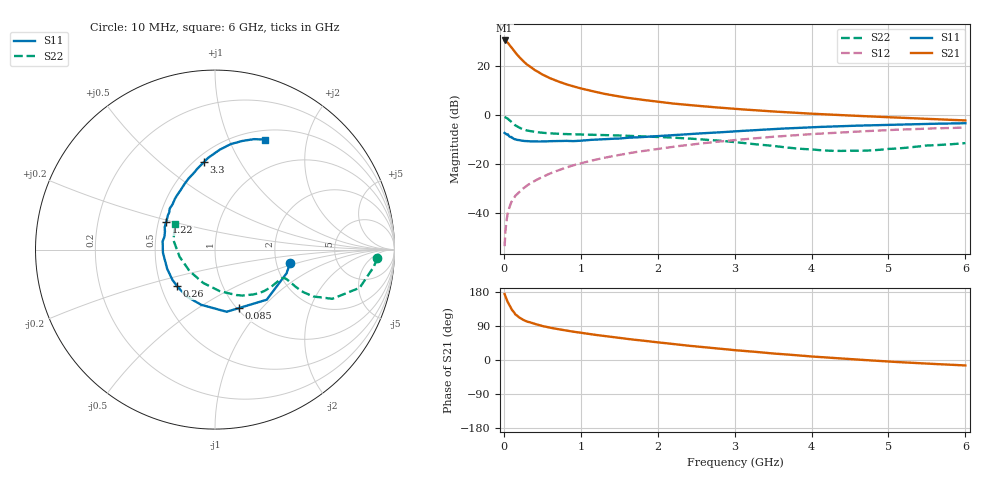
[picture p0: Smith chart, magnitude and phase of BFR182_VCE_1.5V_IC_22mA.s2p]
! Infineon Technologies  Discrete & RF Semiconductors
! BFR182
! VCE =  1.5 V,  IC =  22 mA
! Common Emitter S-Parameters:  Nov 2015
# GHz  S  MA  R  50
!  f  S11  S21  S12  S22
! GHz  MAG  ANG  MAG  ANG  MAG  ANG  MAG  ANG
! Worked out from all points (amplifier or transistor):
!   210 points, 10 MHz to 6 GHz, reference 50 ohm
!   highest |S21| = 30.3 dB at 10 MHz (marker M1)
!   |S21| within 3 dB of that: start of sweep to 103.8 MHz
!   unconditionally stable (mu >= 1): start of sweep to 11.53 MHz; 335.4 MHz to 3.151 GHz
!   at 185 MHz: K = 0.83, MSG = 28.0 dB, |S12| = -32.0 dB
!   at 1.52 GHz: K = 1.12, MAG = 9.7 dB, |S12| = -16.2 dB
!   at 6 GHz: K = 0.96, MSG = 1.5 dB, |S12| = -5.2 dB
!   S11 on the Smith chart (normalised r, x): 10 MHz: 2.39, -0.42; 85 MHz: 1.02, -0.76; 260 MHz: 0.61, -0.27; 1.22 GHz: 0.55, +0.19; 3.3 GHz: 0.56, +0.71; 6 GHz: 0.61, +1.37
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0.01  0.4259 -9.8  32.74 174.0  0.0021 80.9  0.9064 -2.9
0.02  0.4199 -18.4  32.29 168.2  0.0041 85.3  0.8889 -6.3
0.05  0.4012 -44.1  29.7 152.8  0.0097 73.7  0.8336 -14.8
0.085  0.3519 -68.0  25.1 140.2  0.0147 70.7  0.7439 -20.1
0.1  0.3524 -79.4  23.6 133.5  0.0169 70.0  0.7077 -22.8
0.15  0.3169 -104.2  18.52 120.3  0.0224 66.9  0.6064 -25.5
0.2  0.3049 -120.8  15.04 112.2  0.0264 68.0  0.5461 -25.7
0.26  0.2933 -135.8  12.08 105.2  0.0322 68.5  0.5009 -24.9
0.3  0.2911 -144.5  10.61 101.5  0.036 69.9  0.479 -24.2
0.4  0.2871 -158.1  8.213 95.2  0.0449 71.1  0.4473 -23.0
0.5  0.2858 -168.1  6.633 89.7  0.0538 72.2  0.43 -22.4
0.6  0.2906 -176.7  5.572 85.3  0.0635 72.5  0.4185 -22.3
0.7  0.2913 176.4  4.822 81.5  0.073 72.6  0.4104 -22.7
1.02  0.2985 159.2  3.392 71.4  0.1043 71.7  0.3965 -25.4
1.22  0.3125 150.7  2.868 65.6  0.1242 70.6  0.3889 -28.0
1.6  0.3402 137.9  2.227 55.8  0.1623 67.6  0.3739 -33.8
2.02  0.3692 125.0  1.826 46.2  0.2045 63.7  0.3545 -41.4
3.1  0.4695 100.8  1.289 24.4  0.3151 51.5  0.2677 -68.3
3.3  0.4902 97.4  1.227 21.0  0.3353 49.0  0.2481 -75.3
4.1  0.5649 86.0  1.034 8.0  0.4121 38.7  0.1907 -115.0
5.1  0.6298 74.7  0.879 -5.2  0.4956 25.4  0.2051 -173.9
6  0.673 65.6  0.768 -14.4  0.5481 12.7  0.2645 147.4
